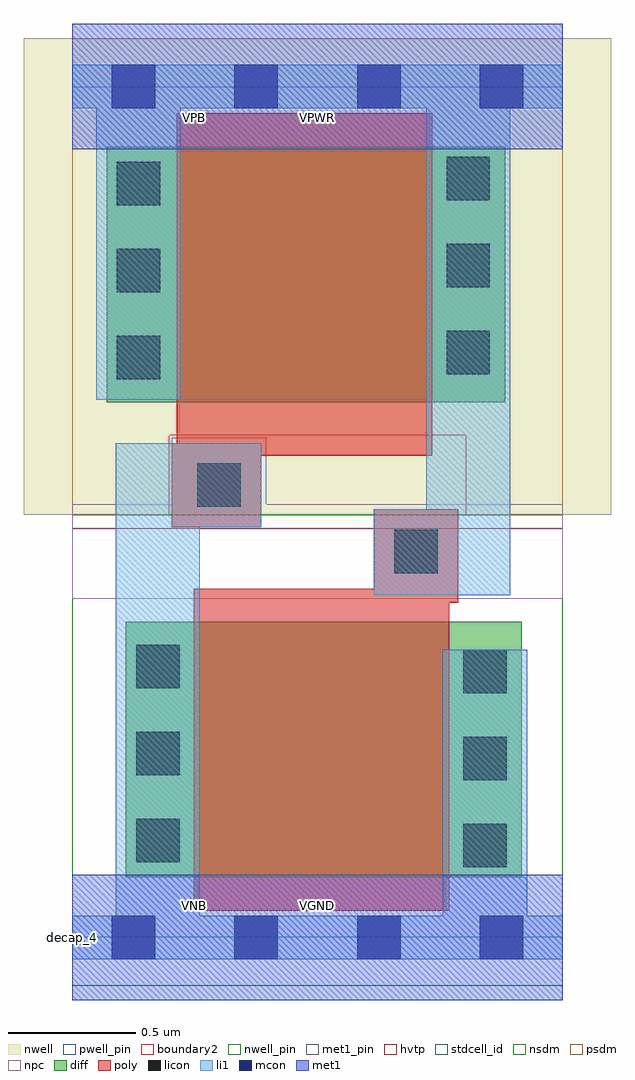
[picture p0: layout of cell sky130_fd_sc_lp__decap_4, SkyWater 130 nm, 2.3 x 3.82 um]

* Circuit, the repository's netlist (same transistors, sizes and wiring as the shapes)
* Copyright 2020 The SkyWater PDK Authors
*
* Licensed under the Apache License, Version 2.0 (the "License");
* you may not use this file except in compliance with the License.
* You may obtain a copy of the License at
*
*     https://www.apache.org/licenses/LICENSE-2.0
*
* Unless required by applicable law or agreed to in writing, software
* distributed under the License is distributed on an "AS IS" BASIS,
* WITHOUT WARRANTIES OR CONDITIONS OF ANY KIND, either express or implied.
* See the License for the specific language governing permissions and
* limitations under the License.
*
* SPDX-License-Identifier: Apache-2.0

.SUBCKT sky130_fd_sc_lp__decap_4 VGND VNB VPB VPWR
*.PININFO VGND:I VNB:I VPB:I VPWR:I
MI1 VGND VPWR VGND VNB sky130_fd_pr__nfet_01v8 m=1 w=1.0U l=1.0U mult=1 sa=0.265
+ sb=0.265 sd=0.28 area=0.063 perim=1.14
MI2 VPWR VGND VPWR VPB sky130_fd_pr__pfet_01v8_hvt m=1 w=1.0U l=1.0U mult=1 sa=0.265
+ sb=0.265 sd=0.28 area=0.063 perim=1.14
.ENDS sky130_fd_sc_lp__decap_4

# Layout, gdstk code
import gdstk
lib = gdstk.Library(unit=1e-6, precision=1e-09)
def R(c, l, rs):  # rectangles x0, y0, x1, y1
    for r in rs: c.add(gdstk.rectangle(r[:2], r[2:], *l))
def A(c, l, x, y, w, h, nx, ny, dx, dy):  # array of equal rectangles
    R(c, l, [(x+i*dx, y+j*dy, x+i*dx+w, y+j*dy+h) for i in range(nx) for j in range(ny)])
def P(c, l, *ps):  # polygons
    for p in ps: c.add(gdstk.Polygon(p, *l))
nwell_pin = (64, 16)
nwell = (64, 20)
diff = (65, 20)
poly = (66, 20)
licon = (66, 44)
li1 = (67, 20)
mcon = (67, 44)
met1_pin = (68, 16)
met1 = (68, 20)
hvtp = (78, 44)
stdcell_id = (81, 4)
nsdm = (93, 44)
psdm = (94, 20)
npc = (95, 20)
pwell_pin = (122, 16)
boundary2 = (236, 0)

sky130_fd_sc_lp__decap_4 = lib.new_cell('sky130_fd_sc_lp__decap_4')
R(sky130_fd_sc_lp__decap_4, nwell_pin, [(0,3.085,1.92,3.33)])
R(sky130_fd_sc_lp__decap_4, nwell, [(-0.19,1.655,2.11,3.52)])
R(sky130_fd_sc_lp__decap_4, diff, [(0.21,0.235,1.76,1.235), (0.135,2.095,1.695,3.095)])
P(sky130_fd_sc_lp__decap_4, poly, [(1.41,3.225),(0.41,3.225),(0.41,1.935),(0.39,1.935),(0.39,1.605),(0.74,1.605),(0.74,1.885),(1.41,1.885)],
  [(1.51,1.675),(1.18,1.675),(1.18,1.365),(0.475,1.365),(0.475,0.105),(1.475,0.105),(1.475,1.31),(1.51,1.31)])
A(sky130_fd_sc_lp__decap_4, licon, 1.53, 0.275, 0.17, 0.17, 1, 3, 0, 0.34)
A(sky130_fd_sc_lp__decap_4, licon, 0.25, 0.295, 0.17, 0.17, 1, 3, 0, 0.34)
A(sky130_fd_sc_lp__decap_4, licon, 0.175, 2.185, 0.17, 0.17, 1, 3, 0, 0.34)
A(sky130_fd_sc_lp__decap_4, licon, 1.465, 2.205, 0.17, 0.17, 1, 3, 0, 0.34)
R(sky130_fd_sc_lp__decap_4, licon, [(1.26,1.425,1.43,1.595), (0.49,1.685,0.66,1.855)])
P(sky130_fd_sc_lp__decap_4, li1, [(1.92,3.415),(0,3.415),(0,3.245),(0.095,3.245),(0.095,2.105),(0.425,2.105),(0.425,3.245),(1.385,3.245),(1.385,1.675),(1.18,1.675),(1.18,1.34),(1.715,1.34),(1.715,3.245),(1.92,3.245)],
  [(1.92,0.085),(1.78,0.085),(1.78,1.125),(1.45,1.125),(1.45,0.085),(0.5,0.085),(0.5,1.605),(0.74,1.605),(0.74,1.935),(0.17,1.935),(0.17,0.085),(0,0.085),(0,-0.085),(1.92,-0.085)])
A(sky130_fd_sc_lp__decap_4, mcon, 0.155, -0.085, 0.17, 0.17, 4, 2, 0.48, 3.33)
R(sky130_fd_sc_lp__decap_4, met1_pin, [(0,0,1.92,0.245), (0,3.085,1.92,3.33)])
R(sky130_fd_sc_lp__decap_4, met1, [(0,-0.245,1.92,0.245), (0,3.085,1.92,3.575)])
R(sky130_fd_sc_lp__decap_4, hvtp, [(0,1.6,1.92,3.33)])
R(sky130_fd_sc_lp__decap_4, stdcell_id, [(0,0,1.92,3.33)])
R(sky130_fd_sc_lp__decap_4, nsdm, [(0,-0.19,1.92,1.655)])
P(sky130_fd_sc_lp__decap_4, psdm, [(1.92,3.52),(0,3.52),(0,1.655),(0.38,1.655),(0.38,1.965),(1.54,1.965),(1.54,1.655),(1.92,1.655)])
P(sky130_fd_sc_lp__decap_4, npc, [(1.92,1.695),(0.76,1.695),(0.76,1.955),(0.39,1.955),(0.39,1.695),(0,1.695),(0,1.325),(1.92,1.325)])
R(sky130_fd_sc_lp__decap_4, pwell_pin, [(0,0,1.92,0.245)])
R(sky130_fd_sc_lp__decap_4, boundary2, [(0,0,1.92,3.33)])
sky130_fd_sc_lp__decap_4.add(gdstk.Label('VNB', (0.48,0.123), layer=64, texttype=59))
sky130_fd_sc_lp__decap_4.add(gdstk.Label('VPB', (0.48,3.208), layer=64, texttype=5))
sky130_fd_sc_lp__decap_4.add(gdstk.Label('decap_4', (0,0), layer=83, texttype=44))
sky130_fd_sc_lp__decap_4.add(gdstk.Label('VGND', (0.96,0.123), layer=68, texttype=5))
sky130_fd_sc_lp__decap_4.add(gdstk.Label('VPWR', (0.96,3.208), layer=68, texttype=5))

lib.write_gds('sky130_fd_sc_lp__decap_4.gds')
